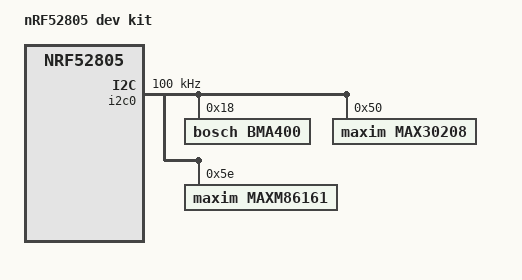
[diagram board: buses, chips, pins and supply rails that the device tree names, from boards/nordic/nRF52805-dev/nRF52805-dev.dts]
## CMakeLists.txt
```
cmake_minimum_required(VERSION 3.20.0)
find_package(Zephyr REQUIRED HINTS $ENV{ZEPHYR_BASE})

project(ring-fw)

target_sources(app PRIVATE src/main.c)
target_sources(app PRIVATE src/i2c_scanner.c)
target_sources(app PRIVATE src/bma400.c)
target_sources(app PRIVATE src/maxm86161.c)
target_sources(app PRIVATE src/max30208.c)
target_sources(app PRIVATE src/ble_app.c)
```

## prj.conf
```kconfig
# UART console for logging
CONFIG_SERIAL=y
CONFIG_CONSOLE=y
CONFIG_UART_CONSOLE=y
CONFIG_PRINTK=y

# Logging with float support
CONFIG_LOG=y
CONFIG_LOG_DEFAULT_LEVEL=2
CONFIG_CBPRINTF_FP_SUPPORT=y
CONFIG_CBPRINTF_NANO=n

# I2C for BMA400 / MAX30208 / MAXM86161
CONFIG_I2C=y
CONFIG_GPIO=y
CONFIG_ADC=y
# --- Bluetooth LE ---------------------------------------------------

CONFIG_BT=y
CONFIG_BT_PERIPHERAL=y

# nRF52 DK will pick the right controller automatically via board defaults.
# If your build complains about controller selection, add:
# CONFIG_BT_LL_SOFTDEVICE=y

CONFIG_BT_MAX_CONN=1
CONFIG_BT_MAX_PAIRED=1

CONFIG_BT_DEVICE_NAME="Evoq Ring"
CONFIG_BT_DEVICE_APPEARANCE=833

# We use our own custom GATT service
CONFIG_BT_GATT_DYNAMIC_DB=y

# Keep it simple for now: no bonding / SMP
CONFIG_BT_SMP=y
CONFIG_BT_GATT_CLIENT=y
CONFIG_BT_SETTINGS=n
CONFIG_SETTINGS=n

# Extra stack/heap for BLE + sensors
CONFIG_MAIN_STACK_SIZE=4096
CONFIG_SYSTEM_WORKQUEUE_STACK_SIZE=2048
CONFIG_HEAP_MEM_POOL_SIZE=4096

# ATT prepare not really used, but keep one slot
CONFIG_BT_ATT_PREPARE_COUNT=1
```

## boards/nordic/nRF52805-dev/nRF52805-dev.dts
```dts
/dts-v1/;
#include <nordic/nrf52805_qfaa.dtsi>
#include "nRF52805-dev-pinctrl.dtsi"

/ {
	model = "nRF52805 dev kit";
	compatible = "nordic,nRF52805-dev";

	chosen {
		zephyr,sram = &sram0;
		zephyr,flash = &flash0;
		zephyr,code-partition = &slot0_partition;
	};

	aliases {
		i2c0 = &i2c0;
	};
};

&flash0 {
	partitions {
		compatible = "fixed-partitions";
		#address-cells = <1>;
		#size-cells = <1>;

		boot_partition: partition@0 {
			label = "mcuboot";
			reg = <0x00000000 DT_SIZE_K(32)>;
		};

		slot0_partition: partition@8000 {
			label = "image-0";
			reg = <0x00008000 DT_SIZE_K(128)>;
		};

		slot1_partition: partition@28000 {
			label = "image-1";
			reg = <0x00028000 DT_SIZE_K(128)>;
		};

		storage_partition: partition@48000 {
			label = "storage";
			reg = <0x00048000 DT_SIZE_K(32)>;
		};
	};
};

&i2c0 {
	compatible = "nordic,nrf-twim";
	status = "okay";
	clock-frequency = <I2C_BITRATE_STANDARD>;
	pinctrl-0 = <&i2c0_default>;
	pinctrl-names = "default";

	/* I2C devices */
	bma400: bma400@18 {
		compatible = "bosch,bma400";
		reg = <0x18>;
		label = "BMA400";
		status = "okay";
	};

	max30208: max30208@50 {
		compatible = "maxim,max30208";
		reg = <0x50>;
		label = "MAX30208";
		status = "okay";
	};

	maxm86161: maxm86161@5e {
		compatible = "maxim,maxm86161";
		reg = <0x5e>;
		label = "MAXM86161";
		status = "okay";
	};
};
```

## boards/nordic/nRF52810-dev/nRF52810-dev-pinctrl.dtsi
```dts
&pinctrl {
	i2c0_default: i2c0_default {
		group1 {
			psels = <NRF_PSEL(TWIM_SDA, 0, 27)>,
				<NRF_PSEL(TWIM_SCL, 0, 26)>;
		};
	};
};
```

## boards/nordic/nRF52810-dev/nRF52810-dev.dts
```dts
/dts-v1/;
#include <nordic/nrf52810_qfaa.dtsi>
#include "nRF52810-dev-pinctrl.dtsi"

/ {
	model = "nRF52810 dev kit";
	compatible = "nordic,nRF52810-dev";

	chosen {
		zephyr,sram = &sram0;
		zephyr,flash = &flash0;
		zephyr,code-partition = &slot0_partition;
	};

	aliases {
		i2c0 = &i2c0;
	};
};

&flash0 {
	partitions {
		compatible = "fixed-partitions";
		#address-cells = <1>;
		#size-cells = <1>;

		boot_partition: partition@0 {
			label = "mcuboot";
			reg = <0x00000000 DT_SIZE_K(32)>;
		};

		slot0_partition: partition@8000 {
			label = "image-0";
			reg = <0x00008000 DT_SIZE_K(128)>;
		};

		slot1_partition: partition@28000 {
			label = "image-1";
			reg = <0x00028000 DT_SIZE_K(128)>;
		};

		storage_partition: partition@48000 {
			label = "storage";
			reg = <0x00048000 DT_SIZE_K(32)>;
		};
	};
};

&i2c0 {
	compatible = "nordic,nrf-twim";
	status = "okay";
	clock-frequency = <I2C_BITRATE_STANDARD>;
	pinctrl-0 = <&i2c0_default>;
	pinctrl-names = "default";

	/* I2C devices */
	bma400: bma400@18 {
		compatible = "bosch,bma400";
		reg = <0x18>;
		label = "BMA400";
		status = "okay";
	};

	max30208: max30208@50 {
		compatible = "maxim,max30208";
		reg = <0x50>;
		label = "MAX30208";
		status = "okay";
	};

	maxm86161: maxm86161@5e {
		compatible = "maxim,maxm86161";
		reg = <0x5e>;
		label = "MAXM86161";
		status = "okay";
	};
};
```

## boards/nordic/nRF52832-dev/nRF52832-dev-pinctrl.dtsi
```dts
&pinctrl {
	i2c0_default: i2c0_default {
		group1 {
			psels = <NRF_PSEL(TWIM_SDA, 0, 27)>,
				<NRF_PSEL(TWIM_SCL, 0, 26)>;
		};
	};
};
```

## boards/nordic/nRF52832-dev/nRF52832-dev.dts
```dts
/dts-v1/;
#include <nordic/nrf52832_ciaa.dtsi>
#include "nRF52832-dev-pinctrl.dtsi"

/ {
	model = "nRF52832 dev kit";
	compatible = "nordic,nRF52832-dev";

	chosen {
		zephyr,sram = &sram0;
		zephyr,flash = &flash0;
		zephyr,code-partition = &slot0_partition;
	};

	aliases {
		i2c0 = &i2c0;
	};
};

&flash0 {
	partitions {
		compatible = "fixed-partitions";
		#address-cells = <1>;
		#size-cells = <1>;

		boot_partition: partition@0 {
			label = "mcuboot";
			reg = <0x00000000 DT_SIZE_K(48)>;
		};

		slot0_partition: partition@c000 {
			label = "image-0";
			reg = <0x0000c000 DT_SIZE_K(220)>;
		};

		slot1_partition: partition@43000 {
			label = "image-1";
			reg = <0x00043000 DT_SIZE_K(220)>;
		};

		storage_partition: partition@7a000 {
			label = "storage";
			reg = <0x0007a000 DT_SIZE_K(24)>;
		};
	};
};

&i2c0 {
	compatible = "nordic,nrf-twim";
	status = "okay";
	clock-frequency = <I2C_BITRATE_STANDARD>;
	pinctrl-0 = <&i2c0_default>;
	pinctrl-names = "default";

	/* I2C devices */
	bma400: bma400@18 {
		compatible = "bosch,bma400";
		reg = <0x18>;
		label = "BMA400";
		status = "okay";
	};

	max30208: max30208@50 {
		compatible = "maxim,max30208";
		reg = <0x50>;
		label = "MAX30208";
		status = "okay";
	};

	maxm86161: maxm86161@5e {
		compatible = "maxim,maxm86161";
		reg = <0x5e>;
		label = "MAXM86161";
		status = "okay";
	};
};
```

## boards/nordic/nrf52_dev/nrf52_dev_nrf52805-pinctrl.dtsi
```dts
/*
 * Copyright (c) 2022 Nordic Semiconductor
 * SPDX-License-Identifier: Apache-2.0
 */

&pinctrl {
	i2c0_default: i2c0_default {
		group1 {
			psels = <NRF_PSEL(TWIM_SCL, 0, 26)>,
				<NRF_PSEL(TWIM_SDA, 0, 27)>;
		};
	};

	i2c0_sleep: i2c0_sleep {
		group1 {
			psels = <NRF_PSEL(TWIM_SCL, 0, 26)>,
				<NRF_PSEL(TWIM_SDA, 0, 27)>;
			low-power-enable;
		};
	};

	spi0_default: spi0_default {
		group1 {
			psels = <NRF_PSEL(SPIM_SCK, 0, 29)>,
				<NRF_PSEL(SPIM_MOSI, 0, 31)>,
				<NRF_PSEL(SPIM_MISO, 0, 30)>;
		};
	};

	spi0_sleep: spi0_sleep {
		group1 {
			psels = <NRF_PSEL(SPIM_SCK, 0, 29)>,
				<NRF_PSEL(SPIM_MOSI, 0, 31)>,
				<NRF_PSEL(SPIM_MISO, 0, 30)>;
			low-power-enable;
		};
	};

	uart0_default: uart0_default {
		group1 {
			psels = <NRF_PSEL(UART_TX, 0, 6)>,
				<NRF_PSEL(UART_RX, 0, 8)>,
				<NRF_PSEL(UART_RTS, 0, 5)>,
				<NRF_PSEL(UART_CTS, 0, 7)>;
		};
	};

	uart0_sleep: uart0_sleep {
		group1 {
			psels = <NRF_PSEL(UART_TX, 0, 6)>,
				<NRF_PSEL(UART_RX, 0, 8)>,
				<NRF_PSEL(UART_RTS, 0, 5)>,
				<NRF_PSEL(UART_CTS, 0, 7)>;
			low-power-enable;
		};
	};
};
```

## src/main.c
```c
#include <zephyr/kernel.h>
#include <zephyr/sys/printk.h>
#include <stdint.h>
#include <stdbool.h>
#include <limits.h>

#include "maxm86161.h"
#include "bma400.h"
#include "max30208.h"
#include "ble_app.h"

/* ------------------------------------------------------------------------- */
/* High-level ring state machine                                             */
/* ------------------------------------------------------------------------- */

static ring_mode_t ring_mode = RING_MODE_ACTIVE;

static const char *ring_mode_name(ring_mode_t m)
{
    switch (m) {
    case RING_MODE_ACTIVE:     return "ACTIVE";
    case RING_MODE_IDLE:       return "IDLE";
    case RING_MODE_DEEP_SLEEP: return "DEEP_SLEEP";
    default:                   return "?";
    }
}

/* Timing parameters (tweak as you like) */
#define RING_NO_CONTACT_TO_DEEP_SLEEP_MS   (120000) /* 2 minutes off-body */
#define RING_TEMP_PERIOD_ACTIVE_MS          (2000)  /* 2 s when active */
#define RING_TEMP_PERIOD_IDLE_MS           (10000)  /* 10 s when idle */
#define RING_BMA_PERIOD_MS                  (1000)  /* 1 s normally */
#define RING_DEEP_SLEEP_BMA_PERIOD_MS       (5000)  /* 5 s in deep sleep */
#define RING_MAIN_LOOP_PERIOD_MS             200    /* 5 Hz loop base */
#define RING_BATT_PERIOD_MS                (60000)  /* 60 s battery sample */

/* Timestamp bookkeeping */
static int64_t last_contact_ts_ms;
static int64_t last_temp_sample_ms;
static int64_t last_bma_sample_ms;
static int64_t last_batt_sample_ms;

static float    last_temp_c;
static bool     have_temp_sample;
static uint16_t last_batt_mv;
static bool     have_batt_sample;

/* Last known good step counter values (guarded against transient read failures) */
static uint32_t last_step_count = 0;
static bma400_step_stat_t last_step_stat = BMA400_STEP_STAT_STILL;

/* Apply mode → sensor power configuration */
static void ring_apply_mode(ring_mode_t new_mode)
{
    int ret;

    switch (new_mode) {
    case RING_MODE_ACTIVE:
        /* On-body + moving: full accel, PPG on */
        ret = maxm86161_set_enabled(true);
        if (ret) {
            printk("Ring: maxm86161_set_enabled(true) failed: %d\n", ret);
        }
        ret = bma400_app_set_power_mode(BMA400_POWER_MODE_NORMAL);
        if (ret) {
            printk("Ring: bma400_set_power_mode(NORMAL) failed: %d\n", ret);
        }
        break;

    case RING_MODE_IDLE:
        /* On-body but resting: keep PPG on, accel in LP */
        ret = maxm86161_set_enabled(true);
        if (ret) {
            printk("Ring: maxm86161_set_enabled(true) failed: %d\n", ret);
        }
        ret = bma400_app_set_power_mode(BMA400_POWER_MODE_LP);
        if (ret) {
            printk("Ring: bma400_set_power_mode(LP) failed: %d\n", ret);
        }
        break;

    case RING_MODE_DEEP_SLEEP:
        /* Off-body: shut down PPG, keep accel in LP for wake-on-motion */
        ret = maxm86161_set_enabled(false);
        if (ret) {
            printk("Ring: maxm86161_set_enabled(false) failed: %d\n", ret);
        }
        ret = bma400_app_set_power_mode(BMA400_POWER_MODE_LP);
        if (ret) {
            printk("Ring: bma400_set_power_mode(LP) failed: %d\n", ret);
        }
        break;
    }
}

/* Update state machine based on BMA400 no-motion + PPG contact */
static void ring_update_state(int64_t now_ms)
{
    /* BMA400 "sleep flag" means: no steps for configured timeout */
    bool no_motion_short = bma400_app_get_sleep_flag();
    bool on_body         = maxm86161_has_contact();

    if (on_body) {
        last_contact_ts_ms = now_ms;
    }

    ring_mode_t new_mode = ring_mode;

    if (ring_mode == RING_MODE_DEEP_SLEEP) {
        /* In deep sleep we can't rely on PPG contact (PPG is off).
         * Wake up when BMA400 sees motion again (no-motion flag clears).
         */
        if (!no_motion_short) {
            new_mode = RING_MODE_IDLE;
        }
    } else {
        if (!on_body) {
            /* PPG says no contact: after some time off-body -> deep sleep */
            if ((now_ms - last_contact_ts_ms) > RING_NO_CONTACT_TO_DEEP_SLEEP_MS) {
                new_mode = RING_MODE_DEEP_SLEEP;
            } else {
                /* Recently taken off or contact flaky: idle (keep PPG running) */
                new_mode = RING_MODE_IDLE;
            }
        } else {
            /* On-body: differentiate ACTIVE vs IDLE by motion */
            if (!no_motion_short) {
                new_mode = RING_MODE_ACTIVE;
            } else {
                new_mode = RING_MODE_IDLE;
            }
        }
    }

    if (new_mode != ring_mode) {
        printk("Ring: mode change %s -> %s (on_body=%d, no_motion=%d)\n",
               ring_mode_name(ring_mode),
               ring_mode_name(new_mode),
               on_body ? 1 : 0,
               no_motion_short ? 1 : 0);

        ring_mode = new_mode;
        ring_apply_mode(new_mode);
    }
}

/* ------------------------------------------------------------------------- */
/* main()                                                                    */
/* ------------------------------------------------------------------------- */

int main(void)
{
    int err;

    printk("Ring Firmware Application\n");
    printk("=========================\n\n");

    /* --- MAXM86161 init (PPG + HR/SpO2 + contact) ----------------------- */
    err = maxm86161_app_init();
    if (err) {
        printk("MAXM86161 app init failed: %d\n", err);
        return err;
    }

    /* --- BMA400 init (accel + step + no-motion) ------------------------- */
    err = bma400_app_init();
    if (err) {
        printk("BMA400 app init failed: %d\n", err);
        return err;
    }

    /* Treat BMA400 "sleep flag" as ~30s rest detector instead of 5 min. */
    struct bma400_sleep_params sleep_cfg = {
        .enabled             = true,
        .no_motion_timeout_s = 30U,  /* idle if no motion for 30 s */
    };
    bma400_app_set_sleep_params(&sleep_cfg);

    /* --- MAX30208 init (skin temperature) ------------------------------- */
    err = max30208_app_init();
    if (err) {
        printk("MAX30208 app init failed: %d\n", err);
        return err;
    }

    /* Initial state: assume ACTIVE until evidence otherwise */
    ring_mode            = RING_MODE_ACTIVE;
    last_contact_ts_ms   = k_uptime_get();
    last_temp_sample_ms  = 0;
    last_bma_sample_ms   = 0;
    last_batt_sample_ms  = -RING_BATT_PERIOD_MS;
    last_temp_c          = 0.0f;
    have_temp_sample     = false;
    last_batt_mv         = 0;
    have_batt_sample     = false;

    ring_apply_mode(ring_mode);

    err = ble_app_init();
    if (err) {
        printk("BLE init failed: %d\n", err);
        return err;
    }

    printk("Setup complete. Running main loop...\n");

    while (1) {
        int64_t now = k_uptime_get();

        /* Service PPG FIFO often when not in deep sleep to avoid overflow.
         * This also keeps HR/SpO2/contact updated.
         */
        if (ring_mode != RING_MODE_DEEP_SLEEP) {
            maxm86161_app_print();
        }

        /* Accelerometer sampling cadence depends on mode */
        int32_t bma_period_ms =
            (ring_mode == RING_MODE_DEEP_SLEEP) ?
            RING_DEEP_SLEEP_BMA_PERIOD_MS : RING_BMA_PERIOD_MS;

        if ((now - last_bma_sample_ms) >= bma_period_ms) {
            bma400_app_print();      /* updates no-motion flag + step log */
            last_bma_sample_ms = now;
        }

        /* Always try to read step counter (guarded against failures) */
        uint32_t step_count = 0;
        bma400_step_stat_t step_stat = BMA400_STEP_STAT_STILL;
        int ret = bma400_app_read_step_counter(&step_count, &step_stat);
        if (ret == 0) {
            /* Read succeeded: update last known good values */
            last_step_count = step_count;
            last_step_stat = step_stat;
            printk("BMA400: read success - step_count=%lu, step_stat=%d\n",
                   (unsigned long)step_count, (int)step_stat);
        } else {
            /* Read failed: keep last known values, log the error */
            printk("BMA400: read failed (ret=%d), keeping last known values: step_count=%lu, step_stat=%d\n",
                   ret, (unsigned long)last_step_count, (int)last_step_stat);
        }

        /* Temperature: slower when idle; off in deep sleep */
        if (ring_mode != RING_MODE_DEEP_SLEEP) {
            int32_t temp_period_ms =
                (ring_mode == RING_MODE_ACTIVE) ?
                RING_TEMP_PERIOD_ACTIVE_MS : RING_TEMP_PERIOD_IDLE_MS;

            if ((now - last_temp_sample_ms) >= temp_period_ms) {
                float temp_c = 0.0f;
                err = max30208_read_temperature_c(&temp_c);
                if (err == 0) {
                    last_temp_c = temp_c;
                    have_temp_sample = true;
                    printk("MAX30208: Temperature = %.2f C\n", temp_c);
                } else {
                    printk("MAX30208: measurement error: %d\n", err);
                }
                last_temp_sample_ms = now;
            }
        }

        /* Battery voltage: sample infrequently to save power */
        if ((now - last_batt_sample_ms) >= RING_BATT_PERIOD_MS &&
            ring_mode != RING_MODE_DEEP_SLEEP) {
            uint16_t mv = 0;
            err = ble_app_sample_battery_mv(&mv);
            if (err == 0) {
                last_batt_mv = mv;
                have_batt_sample = true;
            } else {
                printk("Battery sample error: %d\n", err);
            }
            last_batt_sample_ms = now;
        }

        /* Update power state based on latest contact + motion info */
        ring_update_state(now);

        /* Publish latest snapshot over BLE (read + notify if subscribed) */
        struct ring_ble_snapshot snap = {
            .hr_bpm      = maxm86161_get_hr_bpm(),
            .spo2_pct    = maxm86161_get_spo2_pct(),
            .temp_c_x100 = have_temp_sample ?
                           (int16_t)(last_temp_c * 100.0f) : INT16_MIN,
            .battery_mv  = have_batt_sample ? last_batt_mv : 0,
            .ring_mode   = ring_mode,
            .contact     = maxm86161_has_contact(),
            .step_count  = last_step_count,
            .step_state  = (uint8_t)last_step_stat,
        };
        ble_app_publish(&snap);

        /* Let Zephyr drop CPU into idle between samples */
        k_sleep(K_MSEC(RING_MAIN_LOOP_PERIOD_MS));
    }

    return 0;
}
```

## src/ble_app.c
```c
/*
 * Minimal BLE layer for the ring firmware.
 *
 * - Single custom service with one characteristic carrying a packed snapshot.
 * - Supports read + notify to keep ATT footprint small.
 * - Also updates the standard Battery Service percentage for interoperability.
 */

#include <zephyr/kernel.h>
#include <zephyr/types.h>
#include <zephyr/sys/byteorder.h>
#include <zephyr/sys/printk.h>
#include <zephyr/sys/util.h>
#include <zephyr/logging/log.h>
#include <errno.h>
#include <zephyr/bluetooth/bluetooth.h>
#include <zephyr/bluetooth/conn.h>
#include <zephyr/bluetooth/gatt.h>
#include <zephyr/bluetooth/hci.h>
#include <zephyr/drivers/adc.h>
#include <string.h>

#include "ble_app.h"

LOG_MODULE_REGISTER(ble_app, LOG_LEVEL_INF);

/* ------------------------------------------------------------------------- */
/* UUIDs                                                                     */
/* ------------------------------------------------------------------------- */

/* Random, locally generated 128-bit UUIDs */
#define BT_UUID_RING_SERVICE_VAL \
    BT_UUID_128_ENCODE(0xd8b8a466, 0x9f41, 0x4a4e, 0x9740, 0x20a1f2b6c8f5)
#define BT_UUID_RING_DATA_VAL \
    BT_UUID_128_ENCODE(0xb8fd8a95, 0xf86f, 0x4b26, 0x9a9d, 0x7e9b9f3d3dd6)
#define BT_UUID_RING_MOTION_VAL \
    BT_UUID_128_ENCODE(0x6e2c8b9c, 0xe0e1, 0x49c9, 0x9c2a, 0x4b0e8a0f3c77)

static struct bt_uuid_128 ring_service_uuid = BT_UUID_INIT_128(BT_UUID_RING_SERVICE_VAL);
static struct bt_uuid_128 ring_data_uuid    = BT_UUID_INIT_128(BT_UUID_RING_DATA_VAL);
static struct bt_uuid_128 ring_motion_uuid  = BT_UUID_INIT_128(BT_UUID_RING_MOTION_VAL);

/* ------------------------------------------------------------------------- */
/* Battery ADC                                                               */
/* ------------------------------------------------------------------------- */

#if DT_NODE_HAS_STATUS(DT_NODELABEL(vbatt), okay)
static const struct adc_dt_spec batt_adc = ADC_DT_SPEC_GET(DT_NODELABEL(vbatt));
#endif

/* ------------------------------------------------------------------------- */
/* GATT service + state                                                      */
/* ------------------------------------------------------------------------- */

struct __packed ring_payload_meas {
    int16_t hr_bpm;
    int16_t spo2_pct;
    int16_t temp_c_x100;
    uint16_t battery_mv;
    uint8_t ring_mode;
    uint8_t contact;
};

struct __packed ring_payload_motion {
    uint32_t step_count;
    uint8_t  step_state;
    uint8_t  reserved[3];
};

static struct ring_payload_meas   g_payload_meas;
static struct ring_payload_motion g_payload_motion;
static bool notify_enabled_meas;
static bool notify_enabled_motion;
static struct bt_conn *current_conn;
static bool step_reset_pending;
static uint32_t step_reset_offset;

static ssize_t ring_data_read(struct bt_conn *conn,
                              const struct bt_gatt_attr *attr,
                              void *buf, uint16_t len, uint16_t offset)
{
    const void *value = attr->user_data;
    return bt_gatt_attr_read(conn, attr, buf, len, offset, value,
                             sizeof(struct ring_payload_meas));
}

static void ring_ccc_cfg_changed(const struct bt_gatt_attr *attr, uint16_t value)
{
    notify_enabled_meas = (value == BT_GATT_CCC_NOTIFY);
    LOG_INF("BLE meas notify %s", notify_enabled_meas ? "enabled" : "disabled");
}

static ssize_t ring_motion_read(struct bt_conn *conn,
                                const struct bt_gatt_attr *attr,
                                void *buf, uint16_t len, uint16_t offset)
{
    const void *value = attr->user_data;
    return bt_gatt_attr_read(conn, attr, buf, len, offset, value,
                             sizeof(struct ring_payload_motion));
}

static void ring_motion_ccc_cfg_changed(const struct bt_gatt_attr *attr, uint16_t value)
{
    notify_enabled_motion = (value == BT_GATT_CCC_NOTIFY);
    LOG_INF("BLE motion notify %s", notify_enabled_motion ? "enabled" : "disabled");
}

static ssize_t ring_motion_write(struct bt_conn *conn, const struct bt_gatt_attr *attr,
                                 const void *buf, uint16_t len, uint16_t offset, uint8_t flags)
{
    ARG_UNUSED(conn);
    ARG_UNUSED(attr);
    ARG_UNUSED(offset);
    ARG_UNUSED(flags);

    /* Simple opcode-based command. Expect 1 byte: 0x01 = reset step count */
    if (len >= 1U) {
        const uint8_t *data = buf;
        if (data[0] == 0x01U) {
            step_reset_pending = true;
            LOG_INF("BLE motion: reset requested");
            return len;
        }
    }

    return BT_GATT_ERR(BT_ATT_ERR_WRITE_NOT_PERMITTED);
}

BT_GATT_SERVICE_DEFINE(ring_svc,
    BT_GATT_PRIMARY_SERVICE(&ring_service_uuid),
    BT_GATT_CHARACTERISTIC(&ring_data_uuid.uuid,
                           BT_GATT_CHRC_READ | BT_GATT_CHRC_NOTIFY,
                           BT_GATT_PERM_READ,
                           ring_data_read, NULL, &g_payload_meas),
    BT_GATT_CCC(ring_ccc_cfg_changed,
                BT_GATT_PERM_READ | BT_GATT_PERM_WRITE),

    BT_GATT_CHARACTERISTIC(&ring_motion_uuid.uuid,
                           BT_GATT_CHRC_READ | BT_GATT_CHRC_NOTIFY | BT_GATT_CHRC_WRITE_WITHOUT_RESP,
                           BT_GATT_PERM_READ | BT_GATT_PERM_WRITE,
                           ring_motion_read, ring_motion_write, &g_payload_motion),
    BT_GATT_CCC(ring_motion_ccc_cfg_changed,
                BT_GATT_PERM_READ | BT_GATT_PERM_WRITE)
);

#define RING_DATA_ATTR   (&ring_svc.attrs[2])
#define RING_MOTION_ATTR (&ring_svc.attrs[5])

/* ------------------------------------------------------------------------- */
/* Connection callbacks                                                      */
/* ------------------------------------------------------------------------- */

static void connected(struct bt_conn *conn, uint8_t err)
{
    if (err) {
        LOG_ERR("BLE connect failed (err %u)", err);
        return;
    }

    current_conn = bt_conn_ref(conn);
    LOG_INF("BLE connected");
}

static void disconnected(struct bt_conn *conn, uint8_t reason)
{
    ARG_UNUSED(conn);
    LOG_INF("BLE disconnected (reason 0x%02X)", reason);

    if (current_conn) {
        bt_conn_unref(current_conn);
        current_conn = NULL;
    }
}

static struct bt_conn_cb conn_callbacks = {
    .connected = connected,
    .disconnected = disconnected,
};

/* ------------------------------------------------------------------------- */
/* Helpers                                                                   */
/* ------------------------------------------------------------------------- */

#define ADV_INT_MIN  BT_GAP_ADV_FAST_INT_MIN_2
#define ADV_INT_MAX  BT_GAP_ADV_FAST_INT_MAX_2
#define MOTION_CMD_RESET 0x01

/* ------------------------------------------------------------------------- */
/* Public API                                                                */
/* ------------------------------------------------------------------------- */

bool ble_app_is_connected(void)
{
    return current_conn != NULL;
}

int ble_app_sample_battery_mv(uint16_t *mv)
{
#if !DT_NODE_HAS_STATUS(DT_NODELABEL(vbatt), okay)
    ARG_UNUSED(mv);
    return -ENODEV;
#else
    if (mv == NULL) {
        return -EINVAL;
    }
    if (!device_is_ready(batt_adc.dev)) {
        LOG_ERR("Battery ADC device not ready");
        return -ENODEV;
    }

    int16_t raw_sample = 0;
    struct adc_sequence sequence = {
        .buffer = &raw_sample,
        .buffer_size = sizeof(raw_sample),
    };

    int err = adc_sequence_init_dt(&batt_adc, &sequence);
    if (err) {
        LOG_ERR("adc_sequence_init_dt failed: %d", err);
        return err;
    }

    err = adc_read(batt_adc.dev, &sequence);
    if (err) {
        LOG_ERR("adc_read failed: %d", err);
        return err;
    }

    int32_t batt_mv = raw_sample;
    err = adc_raw_to_millivolts_dt(&batt_adc, &batt_mv);
    if (err) {
        LOG_ERR("adc_raw_to_millivolts_dt failed: %d", err);
        return err;
    }

    /* Input is VDD/4, so scale back up to full VDD. */
    batt_mv *= 4;

    if (batt_mv < 0) {
        batt_mv = 0;
    }
    *mv = (uint16_t)MIN((int32_t)UINT16_MAX, batt_mv);
    return 0;
#endif
}

int ble_app_init(void)
{
    int err = bt_enable(NULL);
    if (err) {
        LOG_ERR("bt_enable failed: %d", err);
        return err;
    }

    bt_conn_cb_register(&conn_callbacks);

    const struct bt_data ad[] = {
        BT_DATA_BYTES(BT_DATA_FLAGS, (BT_LE_AD_GENERAL | BT_LE_AD_NO_BREDR)),
        BT_DATA_BYTES(BT_DATA_UUID128_ALL, BT_UUID_RING_SERVICE_VAL),
    };

    const struct bt_le_adv_param adv_param = {
        .id = BT_ID_DEFAULT,
        .sid = 0,
        .interval_min = ADV_INT_MIN,
        .interval_max = ADV_INT_MAX,
        .options = BT_LE_ADV_OPT_CONNECTABLE | BT_LE_ADV_OPT_USE_NAME,
    };

    err = bt_le_adv_start(&adv_param, ad, ARRAY_SIZE(ad), NULL, 0);
    if (err) {
        LOG_ERR("Advertising start failed: %d", err);
        return err;
    }

    LOG_INF("BLE initialized, advertising as \"%s\"",
            CONFIG_BT_DEVICE_NAME);

    return 0;
}

void ble_app_publish(const struct ring_ble_snapshot *snapshot)
{
    if (snapshot == NULL) {
        return;
    }

    /* Temporary debug: log raw step_count/step_state being published */
    printk("BLE publish: raw step_count=%lu, step_state=%u\n",
           (unsigned long)snapshot->step_count, snapshot->step_state);

    /* If a reset was requested, latch current raw step count as new offset */
    if (step_reset_pending) {
        step_reset_offset = snapshot->step_count;
        step_reset_pending = false;
    }

    uint32_t adj_steps = 0;
    if (snapshot->step_count >= step_reset_offset) {
        adj_steps = snapshot->step_count - step_reset_offset;
    }

    struct ring_payload_meas new_payload = {
        .hr_bpm      = sys_cpu_to_le16(snapshot->hr_bpm),
        .spo2_pct    = sys_cpu_to_le16(snapshot->spo2_pct),
        .temp_c_x100 = sys_cpu_to_le16(snapshot->temp_c_x100),
        .battery_mv  = sys_cpu_to_le16(snapshot->battery_mv),
        .ring_mode   = (uint8_t)snapshot->ring_mode,
        .contact     = snapshot->contact ? 1U : 0U,
    };

    struct ring_payload_motion new_motion = {
        .step_count = sys_cpu_to_le32(adj_steps),
        .step_state = snapshot->step_state,
        .reserved   = {0},
    };

    bool meas_changed   = memcmp(&g_payload_meas, &new_payload, sizeof(g_payload_meas)) != 0;
    bool motion_changed = memcmp(&g_payload_motion, &new_motion, sizeof(g_payload_motion)) != 0;
    g_payload_meas      = new_payload;
    g_payload_motion    = new_motion;

    if (current_conn == NULL) {
        return;
    }

    if (meas_changed && notify_enabled_meas) {
        int err = bt_gatt_notify(current_conn,
                                 RING_DATA_ATTR,
                                 &g_payload_meas,
                                 sizeof(g_payload_meas));
        if (err) {
            LOG_WRN("bt_gatt_notify meas failed: %d", err);
        }
    }

    if (motion_changed && notify_enabled_motion) {
        int err = bt_gatt_notify(current_conn,
                                 RING_MOTION_ATTR,
                                 &g_payload_motion,
                                 sizeof(g_payload_motion));
        if (err) {
            LOG_WRN("bt_gatt_notify motion failed: %d", err);
        }
    }
}
```

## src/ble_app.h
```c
/*
 * Simple BLE helper for the ring firmware.
 *
 * Provides a minimal custom service that exposes:
 *   - HR (BPM)
 *   - SpO2 (%)
 *   - Skin temperature (centi-deg C)
 *   - Battery voltage (mV)
 *   - Sleep/power state (ring_mode_t)
 *   - Contact state (on/off body)
 *
 * The service supports read + notify on a single characteristic to keep the
 * ATT footprint small. All values are little-endian in the packed payload.
 */

#ifndef BLE_APP_H_
#define BLE_APP_H_

#include <stdint.h>
#include <stdbool.h>

typedef enum {
    RING_MODE_ACTIVE = 0,
    RING_MODE_IDLE,
    RING_MODE_DEEP_SLEEP,
} ring_mode_t;

struct ring_ble_snapshot {
    int16_t     hr_bpm;        /* -1 if unknown */
    int16_t     spo2_pct;      /* -1 if unknown */
    int16_t     temp_c_x100;   /* INT16_MIN if unknown */
    uint16_t    battery_mv;    /* 0 if unknown */
    ring_mode_t ring_mode;     /* matches ring_mode_t values */
    bool        contact;       /* true if skin contact present */
    uint32_t    step_count;    /* total steps from BMA400 */
    uint8_t     step_state;    /* bma400_step_stat_t encoded */
};

/**
 * @brief Initialize BLE, start advertising, and prepare the custom service.
 *
 * @return 0 on success, negative errno on failure.
 */
int ble_app_init(void);

/**
 * @brief Sample battery voltage (mV) using SAADC VDD/4 channel.
 *
 * Caches the ADC configuration, performs a single conversion, and returns
 * the result in millivolts (actual VDD).
 *
 * @param[out] mv Pointer to store measured millivolts.
 * @return 0 on success, negative errno on failure.
 */
int ble_app_sample_battery_mv(uint16_t *mv);

/**
 * @brief Update the characteristic value and send a notify if subscribed.
 *
 * @param snapshot New sensor + state snapshot.
 */
void ble_app_publish(const struct ring_ble_snapshot *snapshot);

/**
 * @brief Returns true if a central is currently connected.
 */
bool ble_app_is_connected(void);

#endif /* BLE_APP_H_ */
```

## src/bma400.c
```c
#include "bma400.h"

#include <zephyr/kernel.h>
#include <zephyr/sys/printk.h>
#include <zephyr/devicetree.h>
#include <errno.h>

/* Find any node in the DT with compatible "bosch,bma400" */
#define BMA400_NODE DT_COMPAT_GET_ANY_STATUS_OKAY(bosch_bma400)

#if !DT_NODE_HAS_STATUS(BMA400_NODE, okay)
#error "No BMA400 devicetree node found. Add one with compatible = \"bosch,bma400\"."
#endif

static struct bma400_dev bma400_global;
static bool bma400_initialized;

/* Host-side sleep / motion state */
static struct bma400_sleep_params bma400_sleep_cfg = {
    .enabled = true,
    .no_motion_timeout_s = 300, /* default: 5 minutes of no motion */
};

static bool     bma400_no_motion_flag;
static uint32_t bma400_last_step_count;
static int64_t  bma400_last_motion_ts_ms;

/* ------------------------------------------------------------------------- */
/* Low-level helpers                                                        */
/* ------------------------------------------------------------------------- */

int bma400_read_reg(const struct bma400_dev *dev,
                    uint8_t reg, uint8_t *val)
{
    if (!dev || !dev->i2c || !val) {
        return -EINVAL;
    }

    int ret = i2c_reg_read_byte(dev->i2c, dev->i2c_addr, reg, val);
    if (ret < 0) {
        return ret;
    }

    return 0;
}

int bma400_write_reg(const struct bma400_dev *dev,
                     uint8_t reg, uint8_t val)
{
    if (!dev || !dev->i2c) {
        return -EINVAL;
    }

    int ret = i2c_reg_write_byte(dev->i2c, dev->i2c_addr, reg, val);
    if (ret < 0) {
        return ret;
    }

    return 0;
}

/* ------------------------------------------------------------------------- */
/* Core configuration                                                       */
/* ------------------------------------------------------------------------- */

int bma400_app_read_step_counter(uint32_t *step_count,
                                 bma400_step_stat_t *step_stat)
{
    if (!bma400_initialized) {
        return -ENODEV;
    }

    return bma400_read_step_counter(&bma400_global, step_count, step_stat);
}

int bma400_app_force_wake(void)
{
    if (!bma400_initialized) {
        return -ENODEV;
    }

    /* Force wake-up by writing directly to ACC_CONFIG0.
     * Try to read first to preserve other bits, but if that fails
     * (device in SLEEP mode), write directly with just power mode bits.
     */
    uint8_t acc_conf0 = 0;
    int ret = bma400_read_reg(&bma400_global, BMA400_REG_ACC_CONFIG0, &acc_conf0);
    
    if (ret) {
        /* Read failed - device likely in SLEEP mode.
         * Write directly with just power mode set to NORMAL.
         * Other bits will be 0, which is acceptable for wake-up.
         */
        acc_conf0 = BMA400_ACC_CONFIG0_POWER_MODE_NORMAL;
    } else {
        /* Read succeeded - preserve other bits, only change power mode */
        acc_conf0 &= ~BMA400_ACC_CONFIG0_POWER_MODE_MASK;
        acc_conf0 |= BMA400_ACC_CONFIG0_POWER_MODE_NORMAL;
    }

    ret = bma400_write_reg(&bma400_global, BMA400_REG_ACC_CONFIG0, acc_conf0);
    if (ret) {
        printk("BMA400: force wake failed (%d)\n", ret);
        return ret;
    }

    /* Wait for device to stabilize after wake-up (datasheet: ~2ms typical) */
    k_sleep(K_MSEC(5));

    printk("BMA400: forced wake-up to NORMAL mode\n");
    return 0;
}

int bma400_app_set_power_mode(bma400_power_mode_t mode)
{
    if (!bma400_initialized) {
        return -ENODEV;
    }

    /* Try to read current register value */
    uint8_t acc_conf0 = 0;
    int ret = bma400_read_reg(&bma400_global, BMA400_REG_ACC_CONFIG0, &acc_conf0);
    
    if (ret) {
        /* If read fails, device might be in SLEEP mode.
         * Try to force wake-up first, then retry.
         */
        printk("BMA400: register read failed (%d), attempting force wake\n", ret);
        ret = bma400_app_force_wake();
        if (ret) {
            return ret;
        }
        
        /* Retry reading after wake-up */
        ret = bma400_read_reg(&bma400_global, BMA400_REG_ACC_CONFIG0, &acc_conf0);
        if (ret) {
            printk("BMA400: register read still failing after wake (%d)\n", ret);
            return ret;
        }
    }

    /* Update power mode bits */
    acc_conf0 &= ~BMA400_ACC_CONFIG0_POWER_MODE_MASK;
    acc_conf0 |= (uint8_t)mode;

    ret = bma400_write_reg(&bma400_global, BMA400_REG_ACC_CONFIG0, acc_conf0);
    if (ret) {
        printk("BMA400: power mode write failed (%d)\n", ret);
        return ret;
    }

    /* Wait for device to stabilize after mode change.
     * SLEEP->NORMAL: ~2ms, LP->NORMAL: ~1ms, NORMAL->LP: ~1ms
     * Use 5ms to be safe for all transitions.
     */
    k_sleep(K_MSEC(5));

    printk("BMA400: power mode changed to %s\n",
           (mode == BMA400_POWER_MODE_NORMAL) ? "NORMAL" :
           (mode == BMA400_POWER_MODE_LP)     ? "LP" : "SLEEP");

    return 0;
}


static float bma400_lsb_per_g(bma400_range_t range)
{
    /* From datasheet / product tables: 1024 LSB/g @ 2g, then halves per step. :contentReference[oaicite:5]{index=5} */
    switch (range) {
    case BMA400_RANGE_2G:  return 1024.0f;
    case BMA400_RANGE_4G:  return 512.0f;
    case BMA400_RANGE_8G:  return 256.0f;
    case BMA400_RANGE_16G: return 128.0f;
    default:               return 1024.0f;
    }
}

int bma400_init(struct bma400_dev *dev,
                const struct device *i2c_dev,
                uint16_t i2c_addr,
                bma400_range_t range)
{
    if (!dev || !i2c_dev) {
        return -EINVAL;
    }

    if (!device_is_ready(i2c_dev)) {
        printk("BMA400: I2C device not ready\n");
        return -ENODEV;
    }

    dev->i2c      = i2c_dev;
    dev->i2c_addr = i2c_addr;
    dev->range    = range;

    /* First, try to wake the device from SLEEP mode if it's sleeping.
     * Write directly to ACC_CONFIG0 without reading first, in case
     * the device is in SLEEP and I2C reads are unreliable.
     */
    uint8_t wake_conf0 = 0;
    wake_conf0 &= ~BMA400_ACC_CONFIG0_POWER_MODE_MASK;
    wake_conf0 |= BMA400_ACC_CONFIG0_POWER_MODE_NORMAL;
    (void)bma400_write_reg(dev, BMA400_REG_ACC_CONFIG0, wake_conf0);
    k_sleep(K_MSEC(5)); /* Wait for device to wake up */

    /* Now try to read CHIP_ID to verify communication */
    uint8_t chip_id = 0;
    int ret = bma400_read_reg(dev, BMA400_REG_CHIP_ID, &chip_id);
    if (ret) {
        printk("BMA400: Failed to read CHIP_ID (%d) - device may be stuck in SLEEP\n", ret);
        /* Try one more wake-up attempt */
        (void)bma400_write_reg(dev, BMA400_REG_ACC_CONFIG0, wake_conf0);
        k_sleep(K_MSEC(10));
        ret = bma400_read_reg(dev, BMA400_REG_CHIP_ID, &chip_id);
        if (ret) {
            printk("BMA400: CHIP_ID read still failing after retry (%d)\n", ret);
            return ret;
        }
    }

    if (chip_id != BMA400_CHIP_ID) {
        printk("BMA400: Unexpected CHIP_ID=0x%02x (expected 0x%02x)\n",
               chip_id, BMA400_CHIP_ID);
        return -EIO;
    }

    /* Ensure accelerometer is in normal mode (may have been partially configured above) */
    uint8_t acc_conf0 = 0;
    ret = bma400_read_reg(dev, BMA400_REG_ACC_CONFIG0, &acc_conf0);
    if (ret) {
        printk("BMA400: Failed to read ACC_CONFIG0 (%d)\n", ret);
        return ret;
    }

    acc_conf0 &= ~BMA400_ACC_CONFIG0_POWER_MODE_MASK;
    acc_conf0 |= BMA400_ACC_CONFIG0_POWER_MODE_NORMAL;

    ret = bma400_write_reg(dev, BMA400_REG_ACC_CONFIG0, acc_conf0);
    if (ret) {
        printk("BMA400: Failed to write ACC_CONFIG0 (%d)\n", ret);
        return ret;
    }

    /* Wait for device to stabilize */
    k_sleep(K_MSEC(5));

    /* ACC_CONFIG1:
     *   - ODR = 100 Hz (acc_odr = 0x8)
     *   - OSR = 3 (osr = 0x3) for best noise
     *   - range as requested
     */
    uint8_t acc_conf1 =
        ((uint8_t)0x8 << 4) |  /* acc_odr */
        ((uint8_t)0x3 << 2) |  /* osr */
        ((uint8_t)range & 0x03);

    ret = bma400_write_reg(dev, BMA400_REG_ACC_CONFIG1, acc_conf1);
    if (ret) {
        return ret;
    }

    /* Leave ACC_CONFIG2 at its reset value (0x00) for now. */

    return 0;
}

/* ------------------------------------------------------------------------- */
/* Raw and scaled data                                                      */
/* ------------------------------------------------------------------------- */

int bma400_read_raw(const struct bma400_dev *dev,
                    int16_t *x, int16_t *y, int16_t *z)
{
    if (!dev || !dev->i2c || !x || !y || !z) {
        return -EINVAL;
    }

    uint8_t buf[6];
    int ret = i2c_burst_read(dev->i2c, dev->i2c_addr,
                             BMA400_REG_ACC_X_LSB, buf, sizeof(buf));
    if (ret < 0) {
        return ret;
    }

    /* 12-bit values, MSB[7:4] + LSB[7:0], 2's complement. */
    int16_t raw_x = (int16_t)((((int16_t)buf[1] << 8) | buf[0]) >> 4);
    int16_t raw_y = (int16_t)((((int16_t)buf[3] << 8) | buf[2]) >> 4);
    int16_t raw_z = (int16_t)((((int16_t)buf[5] << 8) | buf[4]) >> 4);

    /* Sign-extend from 12-bit to 16-bit */
    if (raw_x & 0x0800) raw_x |= 0xF000;
    if (raw_y & 0x0800) raw_y |= 0xF000;
    if (raw_z & 0x0800) raw_z |= 0xF000;

    *x = raw_x;
    *y = raw_y;
    *z = raw_z;

    return 0;
}

int bma400_read_mg(const struct bma400_dev *dev,
                   float *x_mg, float *y_mg, float *z_mg)
{
    if (!dev || !x_mg || !y_mg || !z_mg) {
        return -EINVAL;
    }

    int16_t x_raw, y_raw, z_raw;
    int ret = bma400_read_raw(dev, &x_raw, &y_raw, &z_raw);
    if (ret) {
        return ret;
    }

    float lsb_g = bma400_lsb_per_g(dev->range);
    float scale = 1000.0f / lsb_g; /* mg per LSB */

    *x_mg = (float)x_raw * scale;
    *y_mg = (float)y_raw * scale;
    *z_mg = (float)z_raw * scale;

    return 0;
}

int bma400_read_temperature_c(const struct bma400_dev *dev, float *temp_c)
{
    if (!dev || !temp_c) {
        return -EINVAL;
    }

    uint8_t raw = 0;
    int ret = bma400_read_reg(dev, BMA400_REG_TEMP_DATA, &raw);
    if (ret) {
        return ret;
    }

    /* Rough conversion; your real body temperature comes from MAX30208 anyway. */
    *temp_c = 23.0f + ((int8_t)raw) / 2.0f;

    return 0;
}

/* ------------------------------------------------------------------------- */
/* Step counter / activity                                                  */
/* ------------------------------------------------------------------------- */

int bma400_read_step_counter(const struct bma400_dev *dev,
                             uint32_t *step_count,
                             bma400_step_stat_t *step_stat)
{
    if (!dev || !dev->i2c) {
        return -EINVAL;
    }

    uint8_t buf[4];

    /* STEP_CNT0..2 + STEP_STAT in a single burst to avoid race conditions. :contentReference[oaicite:6]{index=6} */
    int ret = i2c_burst_read(dev->i2c, dev->i2c_addr,
                             BMA400_REG_STEP_CNT0, buf, sizeof(buf));
    if (ret < 0) {
        return ret;
    }

    uint32_t cnt = ((uint32_t)buf[0]) |
                   ((uint32_t)buf[1] << 8) |
                   ((uint32_t)buf[2] << 16);

    if (step_count) {
        *step_count = cnt;
    }

    if (step_stat) {
        uint8_t field = buf[3] & 0x03; /* step_stat_field<1:0> */
        *step_stat = (bma400_step_stat_t)field;
    }

    return 0;
}

/* ------------------------------------------------------------------------- */
/* Application-level helpers                                                */
/* ------------------------------------------------------------------------- */

int bma400_app_read_mg(float *x_mg, float *y_mg, float *z_mg)
{
    if (!bma400_initialized) {
        return -ENODEV;
    }

    return bma400_read_mg(&bma400_global, x_mg, y_mg, z_mg);
}

void bma400_app_set_sleep_params(const struct bma400_sleep_params *params)
{
    if (!params) {
        return;
    }

    bma400_sleep_cfg = *params;
}

bool bma400_app_get_sleep_flag(void)
{
    return bma400_no_motion_flag;
}

int bma400_app_init(void)
{
    const struct device *i2c_dev = DEVICE_DT_GET(DT_BUS(BMA400_NODE));
    uint16_t addr = DT_REG_ADDR(BMA400_NODE);

    int ret = bma400_init(&bma400_global, i2c_dev, addr, BMA400_RANGE_2G);
    if (ret) {
        printk("BMA400: init failed: %d\n", ret);
        return ret;
    }

    /* Enable step counter computation and step interrupt.
     *
     * Datasheet: "The step counter computation is enabled if
     * INT_CONFIG1.step_int = ‘1’." :contentReference[oaicite:7]{index=7}
     */
    uint8_t int_cfg1 = 0;
    ret = bma400_read_reg(&bma400_global, BMA400_REG_INT_CONFIG1, &int_cfg1);
    if (ret == 0) {
        int_cfg1 |= 0x01; /* step_int = 1 */
        ret = bma400_write_reg(&bma400_global, BMA400_REG_INT_CONFIG1, int_cfg1);
    }

    if (ret) {
        printk("BMA400: Failed to enable step counter (%d)\n", ret);
        return ret;
    }

    /* Map the step interrupt to INT1.
     *
     * Register 0x23 INT12_MAP:
     *   bit0 = step_int1, bit1 = tap_int1, bit2 = actch_int1,
     *   bit3 = step_int2, bit4 = tap_int2, bit5 = actch_int2 :contentReference[oaicite:8]{index=8}
     */
    uint8_t int12_map = 0;
    ret = bma400_read_reg(&bma400_global, BMA400_REG_INT12_MAP, &int12_map);
    if (ret == 0) {
        int12_map |= 0x01; /* step_int1 -> INT1 */
        ret = bma400_write_reg(&bma400_global, BMA400_REG_INT12_MAP, int12_map);
    }

    if (ret) {
        printk("BMA400: Failed to map step interrupt to INT1 (%d)\n", ret);
        return ret;
    }

    /* Configure INT1 electrical characteristics:
     *   - active high
     *   - push-pull
     *
     * INT12_IO_CTRL bits:
     *   bit0 = int1_lvl (0: active low, 1: active high)
     *   bit1 = int1_od  (0: push-pull, 1: open-drain)
     *   bit2 = int2_lvl
     *   bit3 = int2_od :contentReference[oaicite:9]{index=9}
     */
    uint8_t io_ctrl = 0;
    ret = bma400_read_reg(&bma400_global, BMA400_REG_INT12_IO_CTRL, &io_ctrl);
    if (ret == 0) {
        io_ctrl &= ~0x03; /* clear int1 bits */
        io_ctrl |= 0x01;  /* active high, push-pull */
        ret = bma400_write_reg(&bma400_global, BMA400_REG_INT12_IO_CTRL, io_ctrl);
    }

    if (ret) {
        printk("BMA400: Failed to configure INT1 IO (%d)\n", ret);
        return ret;
    }

    /* Initialize step/sleep tracking state */
    uint32_t step_count = 0;
    (void)bma400_read_step_counter(&bma400_global, &step_count, NULL);

    bma400_last_step_count   = step_count;
    bma400_last_motion_ts_ms = k_uptime_get();
    bma400_no_motion_flag    = false;

    bma400_initialized = true;

    printk("BMA400: Initialization complete (step + motion support enabled)\n");
    return 0;
}

int bma400_app_print(void)
{
    if (!bma400_initialized) {
        return -ENODEV;
    }

    uint32_t          step_count = 0;
    bma400_step_stat_t step_stat = BMA400_STEP_STAT_STILL;

    int ret = bma400_read_step_counter(&bma400_global,
                                       &step_count,
                                       &step_stat);
    if (ret) {
        printk("BMA400: Failed to read step counter (%d)\n", ret);
        return ret;
    }

    int64_t now_ms = k_uptime_get();

    if (step_count != bma400_last_step_count) {
        /* We saw new steps -> definitely motion */
        bma400_last_step_count   = step_count;
        bma400_last_motion_ts_ms = now_ms;
        bma400_no_motion_flag    = false;
    } else if (bma400_sleep_cfg.enabled &&
               bma400_sleep_cfg.no_motion_timeout_s > 0U) {

        int64_t dt_ms = now_ms - bma400_last_motion_ts_ms;
        if (dt_ms >= (int64_t)bma400_sleep_cfg.no_motion_timeout_s * 1000) {
            bma400_no_motion_flag = true;
        }
    }

    const char *activity_str = "still";
    switch (step_stat) {
    case BMA400_STEP_STAT_WALK: activity_str = "walk"; break;
    case BMA400_STEP_STAT_RUN:  activity_str = "run";  break;
    case BMA400_STEP_STAT_STILL:
    default:
        activity_str = "still";
        break;
    }

    printk("BMA400: steps=%lu, activity=%s, sleep_candidate=%s\n",
           (unsigned long)step_count,
           activity_str,
           bma400_no_motion_flag ? "yes" : "no");

    return 0;
}
```

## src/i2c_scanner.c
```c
/*
 * I2C Address Scanner
 * 
 * Scans the I2C bus and reports which addresses respond.
 * This is useful for debugging I2C device detection issues.
 */

#include <zephyr/kernel.h>
#include <zephyr/device.h>
#include <zephyr/drivers/i2c.h>
#include <zephyr/sys/printk.h>
#include <zephyr/logging/log.h>
#include <zephyr/devicetree.h>

LOG_MODULE_REGISTER(i2c_scanner, LOG_LEVEL_DBG);

/* Use the devicetree node label i2c0 directly */
#define I2C_NODE DT_NODELABEL(i2c0)

/**
 * @brief Scan I2C bus for devices
 * 
 * @param i2c_dev I2C device pointer
 * @return 0 on success, negative error code on failure
 */
int i2c_scan(const struct device *i2c_dev)
{
	uint8_t address;
	int ret;
	int found_count = 0;

	if (i2c_dev == NULL) {
		LOG_ERR("I2C device pointer is NULL");
		return -EINVAL;
	}

	if (!device_is_ready(i2c_dev)) {
		LOG_ERR("I2C device is not ready");
		return -ENODEV;
	}

	printk("\n");
	printk("========================================\n");
	printk("I2C Bus Scanner\n");
	printk("========================================\n");
	printk("Scanning I2C bus for devices...\n");
	printk("\n");

	/* I2C addresses are 7-bit, so range is 0x08 to 0x77 */
	/* Addresses 0x00-0x07 and 0x78-0x7F are reserved */
	printk("     0  1  2  3  4  5  6  7  8  9  A  B  C  D  E  F\n");

	for (uint8_t row = 0; row < 8; row++) {
		printk("%02X: ", row * 16);
		
		for (uint8_t col = 0; col < 16; col++) {
			address = (row * 16) + col;
			
			/* Skip reserved addresses */
			if (address < 0x08 || address > 0x77) {
				printk("   ");
				continue;
			}

			/* Try to write to the address (probe) */
			/* Use i2c_write with zero-length buffer to probe */
			ret = i2c_write(i2c_dev, NULL, 0, address);
			
			if (ret == 0) {
				/* Device found! */
				printk("%02X ", address);
				found_count++;
			} else {
				printk("-- ");
			}
		}
		printk("\n");
	}

	printk("\n");
	printk("========================================\n");
	printk("Scan complete. Found %d device(s).\n", found_count);
	printk("========================================\n");
	printk("\n");

	/* Print known device addresses for reference */
	printk("Known device addresses:\n");
	printk("  BMA400:     0x15\n");
	printk("  MAX30208:   0x18\n");
	printk("  MAXM86161:  0x62\n");
	printk("\n");

	return 0;
}

/**
 * @brief Initialize I2C scanner
 */
const struct device *i2c_scanner_init(void)
{
	const struct device *i2c_dev;

	/* Get the I2C device from device tree using devicetree API */
	i2c_dev = DEVICE_DT_GET(I2C_NODE);

	if (!device_is_ready(i2c_dev)) {
		LOG_ERR("I2C device not ready: %s", i2c_dev->name);
		return NULL;
	}

	LOG_INF("I2C device found: %s", i2c_dev->name);
	return i2c_dev;
}
```
